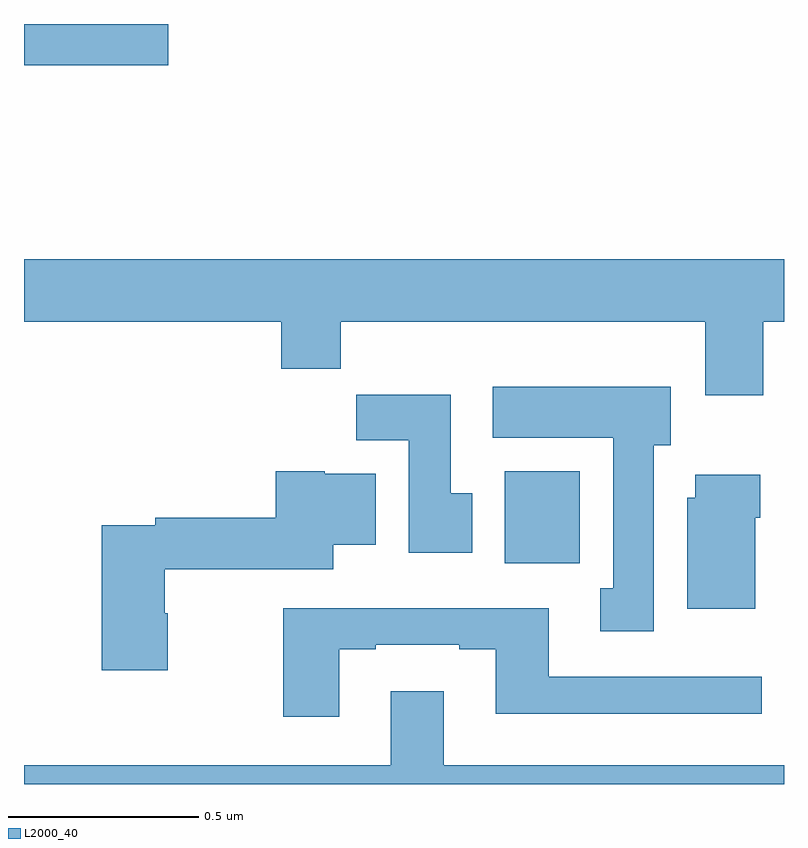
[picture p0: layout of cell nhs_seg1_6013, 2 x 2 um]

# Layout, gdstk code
import gdstk
lib = gdstk.Library(unit=1e-6, precision=1e-09)
def R(c, l, rs):  # rectangles x0, y0, x1, y1
    for r in rs: c.add(gdstk.rectangle(r[:2], r[2:], *l))
def P(c, l, *ps):  # polygons
    for p in ps: c.add(gdstk.Polygon(p, *l))
L2000_40 = (2000, 40)

nhs_seg1_6013 = lib.new_cell('nhs_seg1_6013')
R(nhs_seg1_6013, L2000_40, [(187.265,533.78,187.462,534.022), (186,535.091,186.379,535.199)])
P(nhs_seg1_6013, L2000_40, [(187.946,534.416),(188,534.416),(188,534.58),(186,534.58),(186,534.416),(186.677,534.416),(186.677,534.292),(186.833,534.292),(186.833,534.416),(187.793,534.416),(187.793,534.222),(187.946,534.222)],
  [(187.657,534.09),(187.702,534.09),(187.702,534.244),(187.233,534.244),(187.233,534.11),(187.55,534.11),(187.55,533.714),(187.517,533.714),(187.517,533.601),(187.657,533.601)],
  [(187.18,533.964),(187.123,533.964),(187.123,534.223),(186.874,534.223),(186.874,534.104),(187.013,534.104),(187.013,533.808),(187.18,533.808)],
  [(186.378,533.649),(186.37,533.649),(186.37,533.764),(186.814,533.764),(186.814,533.828),(186.925,533.828),(186.925,534.016),(186.792,534.016),(186.792,534.022),(186.662,534.022),(186.662,533.9),(186.346,533.9),(186.346,533.88),(186.205,533.88),(186.205,533.499),(186.378,533.499)],
  [(187.924,533.9),(187.937,533.9),(187.937,534.013),(187.766,534.013),(187.766,533.952),(187.745,533.952),(187.745,533.66),(187.924,533.66)],
  [(186.829,533.553),(186.925,533.553),(186.925,533.565),(187.145,533.565),(187.145,533.553),(187.241,533.553),(187.241,533.384),(187.942,533.384),(187.942,533.481),(187.381,533.481),(187.381,533.662),(186.682,533.662),(186.682,533.376),(186.829,533.376)],
  [(188,533.248),(187.105,533.248),(187.105,533.443),(186.965,533.443),(186.965,533.248),(186,533.248),(186,533.199),(188,533.199)])

lib.write_gds('nhs_seg1_6013.gds')
